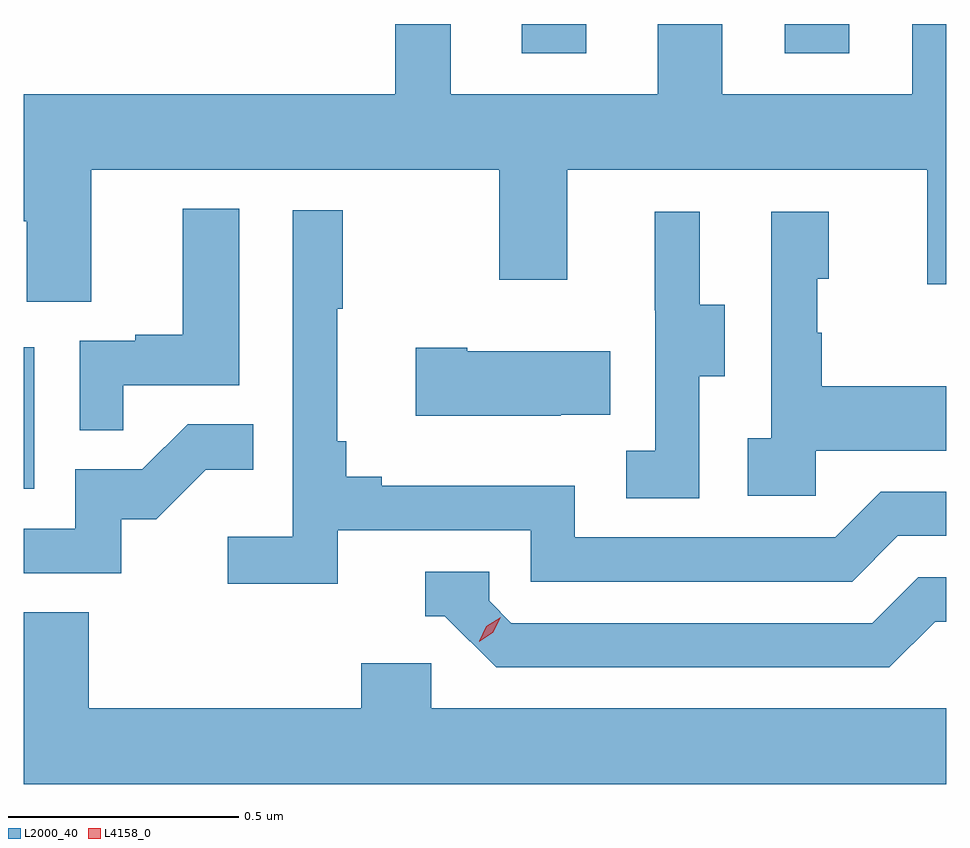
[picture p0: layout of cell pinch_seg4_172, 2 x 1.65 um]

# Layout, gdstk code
import gdstk
lib = gdstk.Library(unit=1e-6, precision=1e-09)
def R(c, l, rs):  # rectangles x0, y0, x1, y1
    for r in rs: c.add(gdstk.rectangle(r[:2], r[2:], *l))
def P(c, l, *ps):  # polygons
    for p in ps: c.add(gdstk.Polygon(p, *l))
L2000_40 = (2000, 40)
L4158_0 = (4158, 0)

pinch_seg4_172 = lib.new_cell('pinch_seg4_172')
R(pinch_seg4_172, L2000_40, [(1118.285,800.124,1118.308,800.431), (1119.365,801.069,1119.505,801.132), (1119.935,801.069,1120.075,801.132)])
P(pinch_seg4_172, L2000_40, [(1118.431,800.816),(1119.316,800.816),(1119.316,800.577),(1119.463,800.577),(1119.463,800.816),(1120.244,800.816),(1120.244,800.568),(1120.285,800.568),(1120.285,801.132),(1120.211,801.132),(1120.211,800.98),(1119.799,800.98),(1119.799,801.132),(1119.66,801.132),(1119.66,800.98),(1119.211,800.98),(1119.211,801.132),(1119.09,801.132),(1119.09,800.98),(1118.285,800.98),(1118.285,800.704),(1118.291,800.704),(1118.291,800.53),(1118.431,800.53)],
  [(1118.501,800.349),(1118.752,800.349),(1118.752,800.731),(1118.63,800.731),(1118.63,800.458),(1118.527,800.458),(1118.527,800.445),(1118.406,800.445),(1118.406,800.251),(1118.501,800.251)],
  [(1118.966,800.034),(1119.384,800.034),(1119.384,799.923),(1120.081,799.923),(1120.18,800.022),(1120.285,800.022),(1120.285,800.118),(1120.143,800.118),(1120.044,800.019),(1119.48,800.019),(1119.48,800.131),(1119.061,800.131),(1119.061,800.15),(1118.984,800.15),(1118.984,800.227),(1118.965,800.227),(1118.965,800.515),(1118.977,800.515),(1118.977,800.728),(1118.868,800.728),(1118.868,800.02),(1118.727,800.02),(1118.727,799.918),(1118.966,799.918)],
  [(1119.75,800.368),(1119.805,800.368),(1119.805,800.523),(1119.751,800.523),(1119.751,800.725),(1119.653,800.725),(1119.653,800.511),(1119.654,800.511),(1119.654,800.207),(1119.591,800.207),(1119.591,800.104),(1119.75,800.104)],
  [(1120.002,800.207),(1120.285,800.207),(1120.285,800.347),(1120.015,800.347),(1120.015,800.462),(1120.005,800.462),(1120.005,800.58),(1120.03,800.58),(1120.03,800.725),(1119.906,800.725),(1119.906,800.234),(1119.855,800.234),(1119.855,800.109),(1120.002,800.109)],
  [(1119.449,800.285),(1119.557,800.285),(1119.557,800.422),(1119.247,800.422),(1119.247,800.43),(1119.135,800.43),(1119.135,800.282),(1119.449,800.282)],
  [(1118.496,800.058),(1118.572,800.058),(1118.679,800.165),(1118.783,800.165),(1118.783,800.264),(1118.64,800.264),(1118.542,800.166),(1118.397,800.166),(1118.397,800.037),(1118.285,800.037),(1118.285,799.941),(1118.496,799.941)],
  [(1120.261,799.836),(1120.285,799.836),(1120.285,799.932),(1120.224,799.932),(1120.125,799.833),(1119.342,799.833),(1119.294,799.881),(1119.294,799.944),(1119.155,799.944),(1119.155,799.848),(1119.198,799.848),(1119.309,799.737),(1120.162,799.737)],
  [(1120.285,799.648),(1119.168,799.648),(1119.168,799.746),(1119.017,799.746),(1119.017,799.648),(1118.426,799.648),(1118.426,799.856),(1118.285,799.856),(1118.285,799.484),(1120.285,799.484)])
P(pinch_seg4_172, L4158_0, [(1119.272,799.793),(1119.272,799.794),(1119.288,799.826),(1119.319,799.846),(1119.319,799.846),(1119.319,799.846),(1119.303,799.813),(1119.273,799.793)])

lib.write_gds('pinch_seg4_172.gds')
